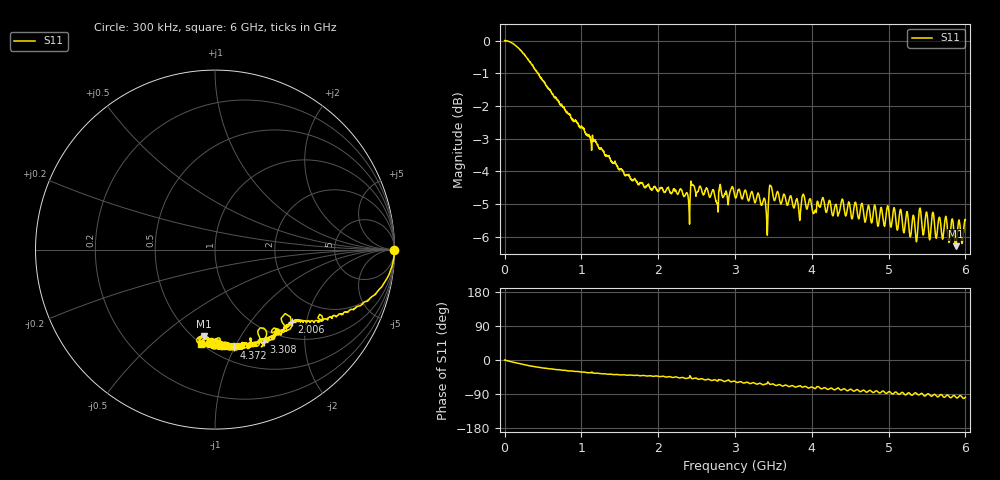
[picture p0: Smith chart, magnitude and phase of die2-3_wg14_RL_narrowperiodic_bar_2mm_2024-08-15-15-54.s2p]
!Keysight Technologies,P9374A,MY57304198,A.17.20.09
!Date: Thursday, August 15, 2024 15:54:45
!Correction: S11(C  1-Port  )
!S21(C  1-Port  )
!S12(Off)
!S22(Off)
!S2P File: Measurements: S11, S21, S12, S22:
# Hz S  dB  R 50
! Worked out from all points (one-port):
!   6000 points, 300 kHz to 6 GHz, reference 50 ohm
!   lowest |S11| = -6.3 dB at 5.872 GHz (marker M1), VSWR 2.88, Z = 28.2 - j35.5 ohm
!   |S11| at or under -10 dB: nowhere
!   S11 on the Smith chart (normalised r, x): 300 kHz: open; 2.006 GHz: 1.33, -1.65; 3.308 GHz: 0.83, -1.30; 4.372 GHz: 0.63, -0.99; 6 GHz: 0.50, -0.74
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300000  -0.00 -0.0  -200.00 45.0  -200.00 45.0  -200.00 45.0
2.373277e8  -0.38 -11.7  -200.00 45.0  -200.00 45.0  -200.00 45.0
4.11348e8  -0.94 -18.5  -200.00 45.0  -200.00 45.0  -200.00 45.0
6.653776e8  -1.76 -25.3  -200.00 45.0  -200.00 45.0  -200.00 45.0
1.000417e9  -2.61 -31.9  -200.00 45.0  -200.00 45.0  -200.00 45.0
1.502475e9  -3.94 -39.4  -200.00 45.0  -200.00 45.0  -200.00 45.0
2.000533e9  -4.61 -43.1  -200.00 45.0  -200.00 45.0  -200.00 45.0
2.005534e9  -4.61 -43.4  -200.00 45.0  -200.00 45.0  -200.00 45.0
2.39758e9  -4.98 -47.4  -200.00 45.0  -200.00 45.0  -200.00 45.0
2.455586e9  -4.42 -49.1  -200.00 45.0  -200.00 45.0  -200.00 45.0
3.00065e9  -4.79 -56.5  -200.00 45.0  -200.00 45.0  -200.00 45.0
3.307686e9  -4.70 -62.0  -200.00 45.0  -200.00 45.0  -200.00 45.0
3.414698e9  -5.61 -62.8  -200.00 45.0  -200.00 45.0  -200.00 45.0
3.472705e9  -4.47 -63.9  -200.00 45.0  -200.00 45.0  -200.00 45.0
3.614722e9  -4.88 -68.7  -200.00 45.0  -200.00 45.0  -200.00 45.0
4.000767e9  -5.09 -71.2  -200.00 45.0  -200.00 45.0  -200.00 45.0
4.37181e9  -5.11 -79.0  -200.00 45.0  -200.00 45.0  -200.00 45.0
5.000883e9  -5.18 -83.8  -200.00 45.0  -200.00 45.0  -200.00 45.0
5.359925e9  -6.15 -87.3  -200.00 45.0  -200.00 45.0  -200.00 45.0
5.578951e9  -5.26 -92.9  -200.00 45.0  -200.00 45.0  -200.00 45.0
5.871985e9  -6.30 -97.1  -200.00 45.0  -200.00 45.0  -200.00 45.0
6e9  -5.48 -98.0  -200.00 45.0  -200.00 45.0  -200.00 45.0
